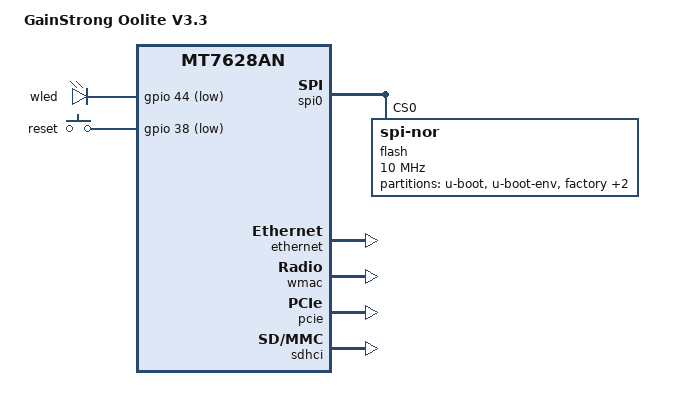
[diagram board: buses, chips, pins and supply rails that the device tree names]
#include "mt7628an.dtsi"

#include <dt-bindings/gpio/gpio.h>
#include <dt-bindings/input/input.h>

/ {
	compatible = "gainstrong,oolite-v3.3", "mediatek,mt7628an-soc";
	model = "GainStrong Oolite V3.3";

	aliases {
		led-boot = &led_system;
		led-failsafe = &led_system;
		led-running = &led_system;
		led-upgrade = &led_system;
	};

	leds {
		compatible = "gpio-leds";

		led_system: wled {
			label = "wled";
			gpios = <&gpio 44 GPIO_ACTIVE_LOW>;
			default-state = "on";
		};
	};

	keys {
		compatible = "gpio-keys";

		reset {
			label = "reset";
			gpios = <&gpio 38 GPIO_ACTIVE_LOW>;
			linux,code = <KEY_RESTART>;
		};
	};
};

&state_default {
	/* 
		Please refer to the MT7628 datasheet 
		and code linux-5.15.158/drivers/pinctrl/ralink/pinctrl-mt7620.c 
		for the following settings. 
	*/
	gpio {
		groups = 
			"i2s",      // GPIO 0,1,2,3
			"i2c",      // GPIO 4,5 
			"spi cs1",  // GPIO 6
			"gpio",     // GPIO 11
			"pwm0",     // GPIO 18
			"pwm1",     // GPIO 19
			"uart2",    // GPIO 20,21
			"refclk",   // GPIO 37
			"wdt",      // GPIO 38
			"p4led_an", // GPIO 39
			"p3led_an", // GPIO 40
			"p2led_an", // GPIO 41
			"p1led_an", // GPIO 42
			"p0led_an", // GPIO 43
			"wled",     // GPIO 44
			"uart1";    // GPIO 45,46
		function = "gpio";
	};
};

&spi0 {
	status = "okay";

	flash@0 {
		compatible = "jedec,spi-nor";
		reg = <0>;
		spi-max-frequency = <10000000>;
		broken-flash-reset;

		partitions {
			compatible = "fixed-partitions";
			#address-cells = <1>;
			#size-cells = <1>;

			partition@0 {
				label = "u-boot";
				reg = <0x0 0x30000>;
				read-only;
			};

			partition@30000 {
				label = "u-boot-env";
				reg = <0x30000 0x10000>;
			};

			factory: partition@40000 {
				label = "factory";
				reg = <0x40000 0x10000>;
				read-only;
			};

			partition@50000 {
				compatible = "denx,uimage";
				reg = <0x50000 0x0>;
				label = "firmware";
			};

			all {
				reg = <0x0 0x0>;
				label = "all";
			};
		};
	};
};

&ethernet {
	status = "okay";

	nvmem-cells = <&macaddr_factory_4>;
	nvmem-cell-names = "mac-address";
};

&factory {
	compatible = "nvmem-cells";
	#address-cells = <1>;
	#size-cells = <1>;

	macaddr_factory_4: macaddr@4 {
		reg = <0x4 0x6>;
	};
};

&wmac {
	status = "okay";

	mediatek,mtd-eeprom = <&factory 0x0>;
};

&pcie {
	status = "okay";
};

&gdma {
	status = "okay";
};

&sdhci {
	status = "okay";
};
